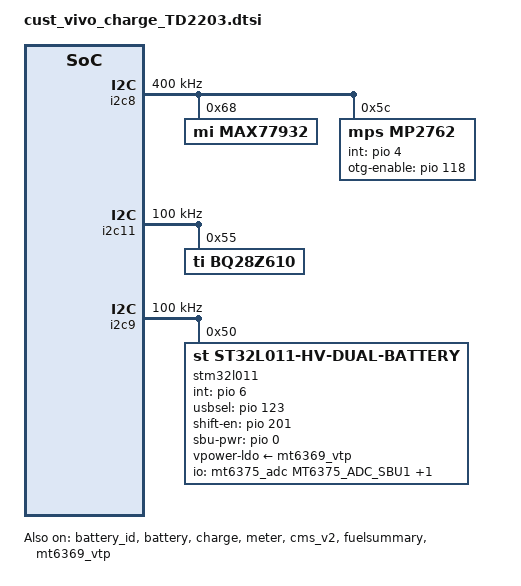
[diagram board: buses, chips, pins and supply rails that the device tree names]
#include <dt-bindings/iio/adc/mediatek,mt6375_auxadc.h>
#include <dt-bindings/iio/adc/mediatek,mt6375_adc.h>
#include <dt-bindings/iio/mt635x-auxadc.h>

&battery_id {
	status = "okay";
	compatible = "vivo,battery_id";

	//vivo,bat-adc-ctrl-gpio = <&pio 122 0>;

	//io-channels = <&pmic_adc (ADC_PURES_OPEN_MASK | AUXADC_VIN1)>;
	//io-channel-names = "battery_id_adc";

	vivo,bat-name = "B-P1(1511041) ATL 4.48V 4130","UNKNOWN","UNKNOWN","UNKNOWN";
};

&battery {
	status = "okay";
	compatible = "vivo,battery";

	io-channels = <&pmic_adc (ADC_PURES_100K_MASK | AUXADC_VIN1)>,
		<&pmic_adc (ADC_PURES_100K_MASK | AUXADC_VIN5)>;
	io-channel-names = "usb_con_therm",
			"batt_therm";

	vivo,low-volt-threshold = <3400>;
	vivo,soft-rise-percent = <96>;
	vivo,soft-rise-cumulative = <3>;
	vivo,soft-rise-keep-cumulative = <10>;
	vivo,percnet-sync-delta = <1>;
	vivo,percnet-sync-cumulative = <9>;
	vivo,full-sync-cumulative = <3>;
	vivo,soft-term-percent = <99>;
	vivo,soft-term-cumulative = <24>;
	vivo,soc-decimal-enable;
};

&charge {
	status = "okay";
	compatible = "vivo,charge";

	vivo,chg-wdt-s = <40>;
	vivo,re-chg-voltage-mv = <100>;
	vivo,prechg-voltage-mv = <6000>;
	vivo,iprechg-current-ma = <300>;
	vivo,iterm-current-ma = <200>;
	vivo,vreg-voltage-mv = <8925>;
	vivo,vindpm-voltage-mv = <4600>;
	vivo,sys-voltage-min-mv= <3300>;
	vivo,boostv-voltage-mv = <5150>;
	vivo,boostv-ilimit-ma = <1800>;
	vivo,ovp-voltage-mv = <15000>;

	vivo,normal-full-ibat-table-size = <4>;
	vivo,normal-full-ibat-table = <150 199 (-200)>,
		<200 249 (-200)>,
		<250 349 (-200)>,
		<350 449 (-300)>;

	/*
	 * 0  auto detect charging
	 * 1  vivo-normal chargine
	 * 2  vivo-single engine charging
	 * 3  vivo-dual engine charging
	 * 4  vivo-flash charging
	 */
	vivo,charge-scheme = <0>;
	vivo,direct-charger-enable;

	/*
	 * SUPPORTED_ADAPTER_DEFAULT = 0,
	 * SUPPORTED_ADAPTER_VIVO_LV_DCHG_5V_4500MA = 1,
	 * SUPPORTED_ADAPTER_VIVO_HV_DCHG_10V_2250MA = 2,
	 * SUPPORTED_ADAPTER_QC20__9V_2000MA = 3,
	 * SUPPORTED_ADAPTER_VIVO_HV_DCHG_10V_4000MA = 4,
	 * SUPPORTED_ADAPTER_MAX,
	 */
	vivo,supported-adapter = <3>;

	//parameter for 9V2A
	vivo,primary-ichg-max-ma = <2240>;
	vivo,parallel-ichg-max-ma = <1680>;

	vivo,flashchg-spec-ma = <2000 3300 10000>;
	vivo,fastchg-spec-ma = <2000 2100 3800>;
	vivo,normalchg-spec-ma = <2000 1500 2300>;

	/* 0---PMIC; 1---CHGIC */
	vivo,vbus-detect-source = <1>;
	vivo,shipmode-gpio = <&pio 112 0>;

	//vivo,usboe-gpio = <&pio 163 0>;
	//vivo,apcmos-ctrl-gpio = <&mt6373_pio 1 0>;
	//vivo,wichg-sleep-ctrl-gpio = <&mt6373_pio 2 0>;
	//vivo,otgen-gpio = <&pio 223 0>;
	//vivo,apmos-gpio = <&pio 224 0>;
	//vivo,otg-ocp-int-gpio = <&pio 3 0>;
	//vivo,wls-charge-enable;

	/*ffc*/
	//vivo,ffc-enable;
	vivo,ffc-iterm-ma = <(-595)>;
	vivo,ffc-vreg-mv = <9000>;
	vivo,ffc-temperature-range = <150 450>;
	vivo,ffc-full-vbat-table-size = <3>;
	vivo,ffc-full-vbat-table = <8990 8990 8960>;
	vivo,ffc-full-ibat-table-size = <4>;
	vivo,ffc-full-ibat-table = <150 199 (-441)>,
		<200 249 (-595)>,
		<250 349 (-595)>,
		<350 449 (-794)>;
	vivo,fool-proof-ffc-full-ibat-table-size = <4>;
	vivo,fool-proof-ffc-full-ibat-table = <150 199 (-400)>,
		<200 249 (-500)>,
		<250 349 (-500)>,
		<350 449 (-700)>;
	vivo,buck-ffc-iterm-ma-table-size = <4>;
	vivo,buck-ffc-iterm-ma-table = <150 199 (-300)>,
		<200 249 (-400)>,
		<250 349 (-400)>,
		<350 449 (-600)>;
};

&meter {
	status = "okay";
	compatible = "vivo,meter";

	vivo,load-capacity-delta-max = <60>;
	vivo,poweron-delta-capacity = <20>;
	vivo,poweron-low-capacity = <3>;
	vivo,volt-car-delta = <8>;
	vivo,car-volt-delta = <6>;
	vivo,meter-res-compesate = <10>;
	vivo,ocv-board-compesate = <0>;

	/* 0---AGING_UNSUPPORTED; 1---DRIVER_SUPPORTED; 2---USPACE_SUPPORTED */
	vivo,battery-aging-support = <2>;

	vivo,capacity-mAh = <2200>;
	/*COLD_CHG COLD_DISCHG NORMAL_CHG NORMAL_DISCHG*/
	vivo,car-tune-value = <1000 1000 1000 1000>,
		<1000 1000 1000 1000>,
		<1000 1000 1000 1000>,
		<1000 1000 1000 1000>,
		<1000 1000 1000 1000>,
		<1000 1000 1000 1000>;
	vivo,bats-qmax = <1610 1810 2010 2110 2210>,
		<3492 3675 3933 4005 4097>,
		<3492 3675 3933 4005 4097>,
		<3492 3675 3933 4005 4097>,
		<3492 3675 3933 4005 4097>,
		<3492 3675 3933 4005 4097>;

	/* car-tune adjust remap */
	vivo,car-tune-adjust-enable;
	vivo,car-tune-adjust-size = <3>;
	vivo,car-tune-adjust-table = <0 10 (330) 6>,
		<11 20 (-30) 7>,
		<21 100 (-30) 8>;

	#include "PD2219_battery_table.dtsi"
};

&cms_v2 {
	compatible = "vivo,charger-monitor-v2";
	status = "okay";

	default_board: single_charger_board {
		       /*default board: keep in xxxxxx*/
		       support-board-version = "xxxxxx";

		       vivo,bat-det-method = <0>;//r:0, rc:1, eprom:2, ex-fg:3
		       vivo,bat-id-gpio = <&pio 28 0>;

		       /*
			  CHG0__CHARGING_TECHNOLOGY_NONE = 0,
			  CHG1__NORMAL_CHARGING,			//5V/2A normal charging
			  CHG2__QC2_CHARGING,				//9V/2A	QC2.0 charging
			  CHG3__LOW_VOLTAGE_DIRECT_CHARGING,		//5V/4.5A direct charging
			  CHG4__SINGLE_IC_DIV2_CHARGING,		//single IC Div/2 charging
			  CHG5__DUAL_IC_DIV2_CHARGING,			//Dual IC Div/2 charging
			  CHG6__DUAL_IC_DUAL_BATTERY_DIV2_CHARGING,	//Dual IC Div/2 charging
			  CHGX__CHARGING_TECHNOLOGY_MAX,
			*/
		       vivo,charging-technology = <6>;

		       //vivo,no-bat-warning;
		       //vivo,no-chg-timeout;
		       vivo,chg-timeout-mins = <900>;

		       //high temperature charger current control enable
		       vivo,htccc-enable;
		       vivo,htccc-data = <46 55 8200000 100000>;

		       //vivo,fbon-scale-enable;/*disable default*/
		       vivo,fbon-scale-data = <2 100 100>;

		       //vivo,switch-scale-enable;/*disable from rom4.0*/
		       vivo,switch-scale-data = <75 53>;

		       vivo,calling-scale-enable;
		       vivo,calling-scale-data = <100 21>;/*ibat:3900 * 0.54 = 2106,more than 1500,not exit dchg*/
		       vivo,calling-dchg-disable;

		       vivo,weixin-calling-scale-enable;
		       vivo,weixin-calling-scale-data = <100 106>;/*5000mA*/

		       vivo,carlife-scale-enable;
		       vivo,carlife-scale-data = <100 12>;/*500mA*/

		       //vivo,fixed-scale-enable;
		       vivo,fixed-scale-data = <120 3800 0>;/*dchg fixed time adjust the max ibat,disable default*/

		       /*data processing : batt-temp*/
		       vivo,dp-batt-temp-enable;
		       vivo,dp-batt-temp-data = <100>;

		       vivo,vbat-r-comp = <13>;

		       /* charging current for devices in exhibition mode */
		       vivo,exhibition-mode-current-primary = <2048>;
		       vivo,exhibition-mode-current-parallel = <0>;

		       /*default tc parameter*/
		       //single charger ibat scale base on temperature battery cell info:1C/1.2C 3960mah
		       /* tmin, tmax, data, volt1, data_ex1, volt2, data_ex2. */
		       vivo,normal-tc-row-col = <8 9>;
		       vivo,normal-tc-data = <550 8888 0 0 0 0 0 0 0>,
			       <450 549 50 0 0 0 0 0 0>,
			       <200 449 100 4200000 70 0 0 0 0>,
			       <150 199 70 0 0 0 0 0 0>,
			       <100 149 70 4200000 50 0 0 0 0>,
			       <50 99 30 0 0 0 0 0 0>,
			       <0 49 30 0 0 0 0 0 0>,
			       <(-8888) (-1) 0 0 0 0 0 0 0>;

		       /*flash tc parameter*/
		       vivo,flash-normal-tc-row-col = <9 9>;
		       vivo,flash-normal-tc-data = <550 8888 0 0 0 0 0 0 0>,
			       <450 549 60 0 0 0 0 0 0>,
			       <350 449 362 8400000 272 8500000 200 8700000 140>,
			       <250 349 362 8400000 272 8500000 200 8700000 140>,
			       <200 249 362 8400000 272 8500000 200 8700000 140>,
			       <100 199 150 8500000 120 8920000 80 0 0>,
			       <0 99 100 0 0 0 0 0 0>,
			       <(100) (-1) 30 0 0 0 0 0 0>,
			       <(-8888) (-101) 0 0 0 0 0 0 0>;

		       /*adjust fastchg base on board temperature and fb off*/
		       vivo,intell-charge-enable;
		       vivo,parallel-temp-enable = <1 1>;//<x y> x:fb-on y:fb-off

		       /* Flash charge fb-on intell param */
		       vivo,primary-fbon-tc-row-col = <7 3>;
		       vivo,primary-fbon-tc-data = <441 8888 1100>,
			       <431 440 1800>,
			       <401 430 3200>,
			       <386 400 4000>,
			       <376 385 5000>,
			       <366 375 6600>,
			       <(-8888) 365 8000>;
		       vivo,parallel-fbon-tc-row-col = <1 3>;
		       vivo,parallel-fbon-tc-data = <(-8888) 8888 0>;

		       /* Flash charge fb-off intell param */
		       vivo,primary-fboff-tc-row-col = <8 3>;
		       vivo,primary-fboff-tc-data = <441 8888 1100>,
			       <431 440 2000>,
			       <411 430 3200>,
			       <391 410 3700>,
			       <381 390 4100>,
			       <371 380 5000>,
			       <361 370 6600>,
			       <(-8888) 360 8000>;
		       vivo,parallel-fboff-tc-row-col = <1 3>;
		       vivo,parallel-fboff-tc-data = <(-8888) 8888 0>;


		       /* VFCP Wireless intell param */
		       vivo,vfcp-wls-intell-charge-enable;
		       //VFCP Wireless fb-on param
		       vivo,vfcp-wls-primary-fbon-tc-row-col = <1 3>;
		       vivo,vfcp-wls-primary-fbon-tc-data = <(-8888) 8888 0>;

		       vivo,vfcp-wls-parallel-fbon-tc-row-col = <1 3>;
		       vivo,vfcp-wls-parallel-fbon-tc-data = <(-8888) 8888 0>;

		       vivo,vfcp-wls-batt-fbon-tc-row-col = <1 3>;
		       vivo,vfcp-wls-batt-fbon-tc-data = <(-8888) 8888 0>;

		       //VFCP Wireless fb-off param
		       vivo,vfcp-wls-primary-fboff-tc-row-col = <1 3>;
		       vivo,vfcp-wls-primary-fboff-tc-data = <(-8888) 8888 0>;

		       vivo,vfcp-wls-parallel-fboff-tc-row-col = <1 3>;
		       vivo,vfcp-wls-parallel-fboff-tc-data = <(-8888) 8888 0>;

		       vivo,vfcp-wls-batt-fboff-tc-row-col = <1 3>;
		       vivo,vfcp-wls-batt-fboff-tc-data = <(-8888) 8888 0>;

		       /* VFCP bypass intell param */
		       vivo,bypass-intell-charge-enable;
		       /* bypass charge fb-on intell param */
		       vivo,bypass-primary-fbon-tc-row-col = <5 3>;
		       vivo,bypass-primary-fbon-tc-data = <431 8888 1100>,
			       <401 430 1600>,
			       <381 400 2000>,
			       <371 380 3000>,
			       <(-8888) 370 4000>;

		       /* bypass charge fb-off intell param */
		       vivo,bypass-primary-fboff-tc-row-col = <5 3>;
		       vivo,bypass-primary-fboff-tc-data = <431 8888 1100>,
			       <401 430 1600>,
			       <381 400 2000>,
			       <371 380 3000>,
			       <(-8888) 370 4000>;

		       /* 9v Fast charge fb-on intell param */
		       vivo,9v-primary-fbon-tc-row-col = <5 3>;
		       vivo,9v-primary-fbon-tc-data = <441 8888 300>,
			       <401 440 500>,
			       <381 400 1000>,
			       <371 380 1500>,
			       <(-8888) 370 2000>;
		       vivo,9v-parallel-fbon-tc-row-col = <1 3>;
		       vivo,9v-parallel-fbon-tc-data = <(-8888) 8888 0>;
		       // second parallel parameter, for rt9467
		       vivo,9v-2nd-parallel-fbon-tc-row-col = <1 3>;
		       vivo,9v-2nd-parallel-fbon-tc-data = <(-8888) 8888 0>;


		       /* 9v Fast charge fb-off intell param */
		       vivo,9v-primary-fboff-tc-row-col = <5 3>;
		       vivo,9v-primary-fboff-tc-data = <441 8888 300>,
			       <401 440 500>,
			       <381 400 1000>,
			       <371 380 1500>,
			       <(-8888) 370 2000>;
		       vivo,9v-parallel-fboff-tc-row-col = <1 3>;
		       vivo,9v-parallel-fboff-tc-data = <(-8888) 8888 0>;
		       // second parallel parameter, for rt9467
		       vivo,9v-2nd-parallel-fboff-tc-row-col = <1 3>;
		       vivo,9v-2nd-parallel-fboff-tc-data = <(-8888) 8888 0>;


		       /* 5v Normal charge fb-on intell param */
		       vivo,5v-primary-fbon-tc-row-col = <5 3>;
		       vivo,5v-primary-fbon-tc-data = <441 8888 300>,
			       <401 440 500>,
			       <381 400 1000>,
			       <371 380 1500>,
			       <(-8888) 370 2000>;
		       vivo,5v-parallel-fbon-tc-row-col = <1 3>;
		       vivo,5v-parallel-fbon-tc-data = <(-8888) 8888 0>;

		       /* 5v Normal charge fb-off intell param */
		       vivo,5v-primary-fboff-tc-row-col = <5 3>;
		       vivo,5v-primary-fboff-tc-data =<441 8888 300>,
			       <401 440 500>,
			       <381 400 1000>,
			       <371 380 1500>,
			       <(-8888) 370 2000>;
		       vivo,5v-parallel-fboff-tc-row-col = <1 3>;
		       vivo,5v-parallel-fboff-tc-data = <(-8888) 8888 0>;

		       // Direct charging param
		       vivo,direct-charger-enable;//porting_check
		       vivo,ex-bms-psy-name = "bq_bms";

		       // bat_baord, usb_conn, pcb_conn(master_bat_conn), bat_conn
		       vivo,dchg-ntc-protect-enable;
		       vivo,dchg-ntc-protect-data = <750 800 850 850>;

		       vivo,adapter-cooldown-data = <900 850 3400>;
		       /*adapter power derate*/
		       vivo,adapter-power-derate-enable;

		       /* usb connecter protect param
			* USB_PROTECT_NONE = 0,
			* USB_CONN_TEMP_HEAT_PROTECT = BIT(0),
			* USB_ID_PROTECT = BIT(1),
			*/
		       vivo,usb-connecter-protect-enable = <1>;
		       vivo,usb-id-protect-data= <1100 1547 500>;/* 500K, 2M, fcc */
		       vivo,usb-conn-heat-protect-data-row-col = <2 4>;
		       vivo,usb-conn-heat-protect-data= <260 8888 670 620>,
			       <(-8888) 259 570 520>;

		       /*
			* max vbus of adapter:11v, max ibus of adapter:5A
			* min voltage of battery for half chg:3500mV,max voltage of battery for half charge:4100mV,
			* 5V2A charge min current threshold: 1000mA,5V2A charge max current threshold:2100mA,
			* flash charge min current threshold:5000mA,flash charge max current threshold:11000mA
			*/

		       /*default parameter*/
		       vivo,charge-param-judge-threshold = <5 2 3500 4300 1000 2100 5000 11000 0 0>;
		       /* factory mode charging test param */
		       vivo,charge-test-param-row-col = <12 3>;
		       vivo,charge-test-param-data = <0 0 5500>, /* cable resistance, min value, max value */
			       <0 0 5500>, /* master ibus, min ibus, max ibus */
			       <0 0 5500>, /* slave ibus, min ibus, max ibus */
			       <1 20 40>, /* batt therm ntc, min value, max value */
			       <1 20 45>, /* board therm ntc, min value, max value */
			       <0 20 50>, /* sub charger ntc, min value, max value */
			       <0 20 45>, /* usb con ntc, min value, max value */
			       <0 20 45>, /* usb con 1 ntc, double usb NTC, min value, max value */
			       <0 20 45>, /* bat btb master ntc, min value, max value */
			       <0 20 50>, /* bat btb sub ntc, min value, max value */
			       <0 20 50>, /* bat board ntc, min value, max value */
			       <0 20 50>; /* wireless charge coil ntc, min value, max value */

		       /*flash parameter*/
		       vivo,flash-charge-param-judge-threshold = <20 4 6700 8200 750 1350 4500 8100 2500 5000>;
		       /* factory mode charging test param */
		       vivo,flash-charge-test-param-row-col = <12 3>;
		       vivo,flash-charge-test-param-data = <1 0 5500>, /* cable resistance, min value, max value */
			       <1 0 5500>, /* master ibus, min ibus, max ibus */
			       <0 0 5500>, /* slave ibus, min ibus, max ibus */
			       <1 20 40>, /* batt therm ntc, min value, max value */
			       <1 20 45>, /* board therm ntc, min value, max value */
			       <0 20 50>, /* sub charger ntc, min value, max value */
			       <1 20 45>, /* usb con ntc, min value, max value */
			       <0 20 45>, /* usb con 1 ntc, double usb NTC, min value, max value */
			       <1 20 45>, /* bat btb master ntc, min value, max value */
			       <0 20 50>, /* bat btb sub ntc, min value, max value */
			       <0 20 50>, /* bat board ntc, min value, max value */
			       <0 20 50>; /* wireless charge coil ntc, min value, max value */

		       #include "PD2219_battery_chg_params.dtsi"
	};
};

&power_supply_lite {
	status = "okay";
	compatible = "vivo,power_supply_lite";
};

&wls_system {
	status = "disabled";
	compatible = "vivo,wls-system-control";
	//vivo,wls-40w-enable;
	//vivo,wls-sleep-enable;
	//vivo,alternate_charger_name = "boost_charger";//must del
	vivo,wls-dchg-vout-to-vbat-scale = <4>;//default=2->RX_vout:vbat=2:1;  4->RX_vout:vbat=4:1
};

&fuelsummary {
	status = "okay";
	compatible = "vivo,fuelsummary";

	/************************************************************
	 *
	 *  0   vivo-fastchg
	 *  1   qcom-dualchg
	 *  2   mtk-dualchg
	 *  3   qcom-normchg
	 *  4   mtk-normchg
	 *
	 ***********************************************************/
	chg-scheme = <2>;
	fex-version = <3>;
	fbon-ibat = <(-900)>;
	fboff-ibat = <(-1000)>;

	/* 0---AGING_UNSUPPORTED; 1---DRIVER_SUPPORTED; 2---USPACE_SUPPORTED */
	vivo,battery-aging-support = <2>;
};

&i2c8 {
	status = "okay";
	#address-cells = <1>;
	#size-cells = <0>;
	clock-frequency = <400000>;
	mediatek,use-open-drain;

	max77932@68 {
		compatible = "mi,max77932";
		reg = <0x68>;
	};

	mp2762@5c {
		compatible = "mps,mp2762";
		reg = <0x5c>;

		vivo,int-gpio = <&pio 4 0>;
		vivo,otg-enable-gpio = <&pio 118 0>;
		//vivo,enable-gpio = <&pio 69 0>;
	};

	idtp9415@3B {
		status = "disabled";
		compatible = "vivo,wls-rx-idtp9415";
		reg = <0x3B>;
		//vivo,idt-int-gpio = <&pio 206 0>;//WICHG_WPC_INT
		////vivo,hw-en-gpio = <&tlmm 97 0>;//WICHG_WPC_HWEN default 0
		//vivo,idt-detect-gpio = <&pio 190 0>;//WICHG_WPC_WLOK
		//vivo,ac-missing-gpio = <&pio 207 0>;//P9415_GP3 WICHG_WPC_RECHARGE AC_missing
		//vivo,fod-match-q = <43>;

		//vivo,ap-p9415-en-gpio = <&mt6373_pio 2 0>;//WICHG_SLEEP_CTRL
		//nvmem = <&pmk8350_sdam_2>;
		//nvmem-names = "mtp_cycle";
		vivo,max-mtp-cycle = <700>;

		//vivo,alternate_charger_name = "boost_charger";//must del
		vivo,fw-mtp-enable;
		vivo,sleep-feature-disable;

		vivo,skip-wait-mcu-control-mos;
	};
};

&i2c11 {
	status = "okay";
	#address-cells = <1>;
	#size-cells = <0>;
	clock-frequency = <100000>;
	mediatek,use-open-drain;

	bq28z610@55 {
		compatible = "ti,bq28z610";
		reg = <0x55>;

		//vivo,skip-sha;
		vivo,bat-capacity-mah = <2210>;
	};

};

&mt6369_vtp {
	regulator-name = "vtp_mcu_3p3";
	regulator-default-on = <1>; /* 0:skip, 1: off, 2:on */
	status = "okay";
};

&i2c9 {
	#address-cells = <1>;
	#size-cells = <0>;
	status = "okay";
	clock-frequency = <100000>;

	stm32l011@50 {
		compatible = "st,st32l011-hv-dual-battery";
		reg = <0x50>;

		vpower-ldo-supply = <&mt6369_vtp>;
		//vivo,power-gpio = <&pio 203 0>;//ZC_LDO_EN
		vivo,int-gpio = <&pio 6 0>;//MCU_INT_AP
		vivo,usbsel-gpio = <&pio 123 0>;//USB_SW_EN
		vivo,shift-en-gpio = <&pio 201 0>;//SHIFT_EN
		vivo,sbu-pwr-gpio = <&pio 0 0>;
		//vivo,mcu-version-gpio = <&pio 193 0>;
		//vivo,chgic-version-gpio = <&pio 188 0>;
		ti,temp-cold-degc = <2>;
		ti,temp-hot-degc = <43>;
		vivo,total-limit-max-ma = <12000>;
		vivo,bigdata-collect-time-limit = <95>;//seconds
		vivo,direct-charger-enable;//porting_check

		vivo,ffc-dchg-cv-normal = <8920>;
		vivo,ffc-dchg-iterm-normal = <441>;
		vivo,vbat-too-high-threshold = <9040>;

		//vivo,cout-int-gpio = <&pio 5 0>;

		/*ibat low div2 bypass feature*/
		vivo,div2-bypass-enable;
		vivo,div2-bypass-ibat-thr = <2500>;

		vivo,sbu-cable-id-detect-enable;
		vivo,sbu-detect-rely-usb-switch;
		//vivo,sbu-id-detect-from-ex-adc;

		vivo,bat-board-temp-enable = <3>;
		vivo,usb-conn-temp-enable = <2>;
		vivo,bat-conn-temp-enable = <1>;
		vivo,master-bat-conn-temp-enable = <2>;
		vivo,dchg-exit-ntc-threshold = <700 650 700 700 1200>;

		/* BQ25970_SINGLE_DCHG:
		 * DCHG_SINGLE_TYPE_22P5W = 0,
		 * DCHG_SINGLE_TYPE_33W = 1,
		 * DCHG_SINGLE_TYPE_44W = 2,
		 * BQ25970_DUAL_DCHG:DCHG_DUAL_TYPE_44W = 3,
		 */
		vivo,dchg-supported-type = <1>;
		/*adapter power derate*/
		vivo,adapter-power-derate-enable;

		//vivo,single-charger-enable;
		vivo,adapter-sha-encryption;

		io-channels = <&mt6375_adc MT6375_ADC_SBU1>,
			<&mt6375_adc MT6375_ADC_SBU2>;

		io-channel-names = "sbu2_cable_id_adc",
			"sbu1_cable_id_adc";

		/*cable r limit table :
		  <rmin,rmax, dchg_ibus_max, cable_id_type, limit_count>
		  cable_id_type: 0:effective cable id, 1:other(default) cable id
		 */
		vivo,cable-r-limit-table-rc = <9 5>;
		vivo,cable-r-limit-table = <(-8888) 220 6000 0 0>,
			<221 278 3000 0 0>,
			<279 343 2250 0 0>,
			<344 454 1800 0 0>,
			<455 8888 0 0 0>,
			<(-8888) 385 3000 1 0>,
			<386 450 2250 1 0>,
			<451 561 1800 1 0>,
			<562 8888 0 1 0>;

		vivo,single-dchg-ic;
		//vivo,wls-charge-enable;

		/*load firmware profile*/
		vivo,fw-id-range-pct = <100>;
		//#include "mcu-firmware-data-xh.dtsi"
		//#include "mcu-firmware-data-44w.dtsi"
		//#include "mcu-firmware-data-44w-notbat.dtsi"
	};

	bq25890h@6a {
		status = "disabled";
		compatible = "ti,bq25890h";
		reg = <0x6a>;

		//vivo,int-gpio = <&pio 11 0>;
	};

	bq25601d@6b {
		status = "disabled";
		compatible = "ti,bq25601d";
		reg = <0x6b>;

		//vivo,int-gpio = <&pio 11 0>;
		//vivo,enable-gpio = <&pio 69 0>;
	};

	rt9467@5b {
		status = "disabled";
		compatible = "richtek,rt9467";
		reg = <0x5b>;

		//vivo,int-gpio = <&pio 3 0>;
		//vivo,enable-gpio = <&pio 166 0>;
	};
};

